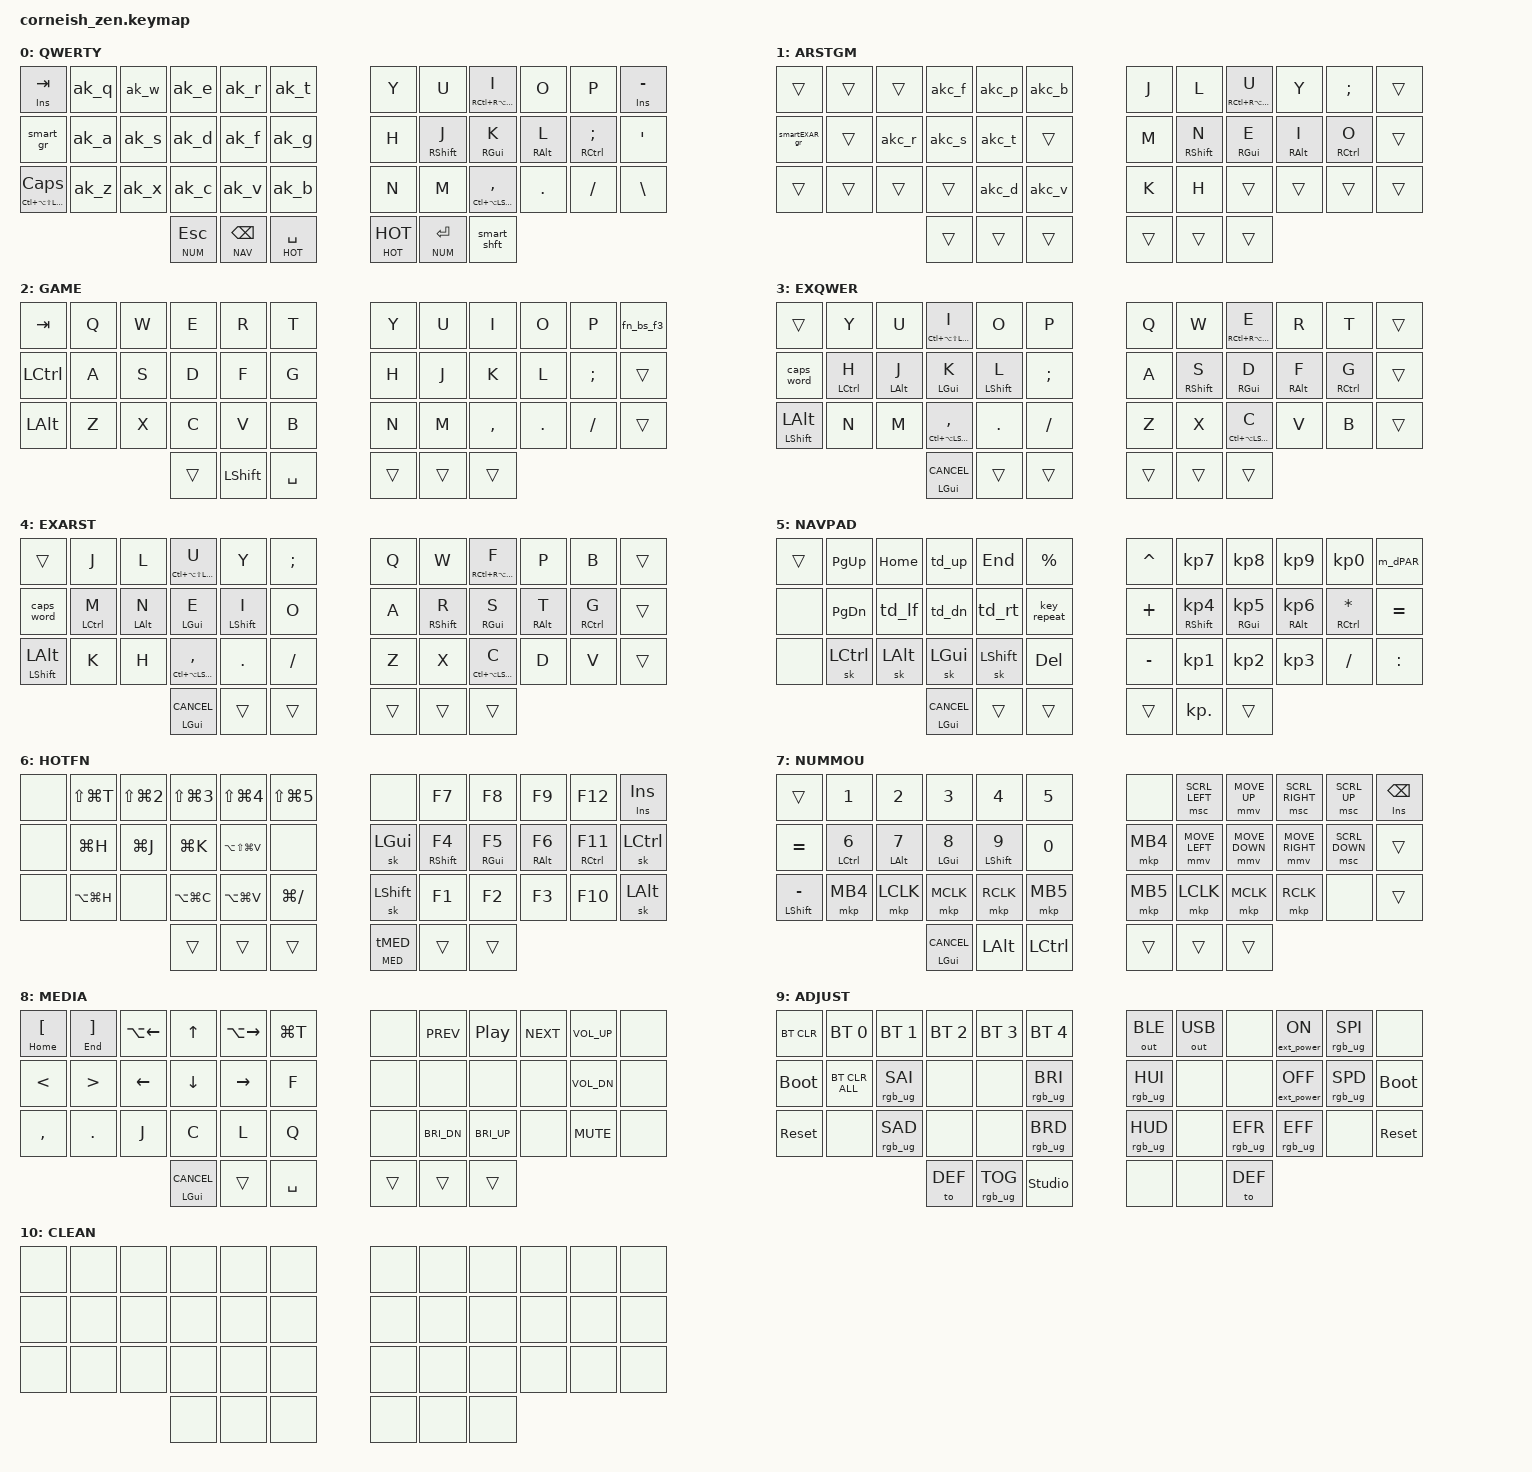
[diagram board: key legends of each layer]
// urob Settings tuned for 3840 x 2160 display resolution
#define ZMK_POINTING_DEFAULT_MOVE_VAL 600  // default 600, eyelash 1200, urob 600
#define ZMK_POINTING_DEFAULT_SCRL_VAL 20    // default 10, eyelash 25, urob 20

#include <dt-bindings/zmk/pointing.h>
#include <input/processors.dtsi>
#include <zephyr/dt-bindings/input/input-event-codes.h>

#include <behaviors.dtsi>
#include <dt-bindings/zmk/bt.h>
#include <dt-bindings/zmk/ext_power.h>
#include <dt-bindings/zmk/keys.h>
#include <dt-bindings/zmk/outputs.h>
#include <dt-bindings/zmk/rgb.h>
#include <behaviors/num_word.dtsi>  // Requires auto-layer module.
#include <dt-bindings/zmk/mouse.h>

/ {
    chosen {
        zmk,matrix_transform = &default_transform;

        // zmk,matrix_transform = &five_column_transform;
    };
};

// ───────────────────────────────────────────────── Define key positon ─────────────────────────────────────────────────
    /*                KEY POSITIONS

    ╭────────────────────────┬────────────────────────╮ ╭─────────────────────────┬─────────────────────────╮
    │  0   1   2   3   4   5 │  6   7   8   9  10  11 │ │ LT5 LT4 LT3 LT2 LT1 LT0 │ RT0 RT1 RT2 RT3 RT4 RT5 │
    │ 12  13  14  15  16  17 │ 18  19  20  21  22  23 │ │ LM5 LM4 LM3 LM2 LM1 LM0 │ RM0 RM1 RM2 RM3 RM4 RM5 │
    │ 24  25  26  27  28  29 │ 30  31  32  33  34  35 │ │ LB5 LB4 LB3 LB2 LB1 LB0 │ RB0 RB1 RB2 RB3 RB4 RB5 │
    ╰───────────╮ 36  37  38 │ 39  40  41 ╭───────────╯ ╰───────────╮ LH2 LH1 LH0 │ RH0 RH1 RH2 ╭───────────╯
                ╰────────────┴────────────╯                         ╰─────────────┴─────────────╯             */

    #define LT0  5  // left-top row
    #define LT1  4
    #define LT2  3
    #define LT3  2
    #define LT4  1
    #define LT5  0

    #define RT0  6  // right-top row
    #define RT1  7
    #define RT2  8
    #define RT3  9
    #define RT4 10
    #define RT5 11

    #define LM0 17  // left-middle row
    #define LM1 16
    #define LM2 15
    #define LM3 14
    #define LM4 13
    #define LM5 12

    #define RM0 18  // right-middle row
    #define RM1 19
    #define RM2 20
    #define RM3 21
    #define RM4 22
    #define RM5 23

    #define LB0 29  // left-bottom row
    #define LB1 28
    #define LB2 27
    #define LB3 26
    #define LB4 25
    #define LB5 24

    #define RB0 30  // right-bottom row
    #define RB1 31
    #define RB2 32
    #define RB3 33
    #define RB4 34
    #define RB5 35

    #define LH0 38  // left thumb keys
    #define LH1 37
    #define LH2 36

    #define RH0 39  // right thumb keys
    #define RH1 40
    #define RH2 41

    #define KEYS_L LT0 LT1 LT2 LT3 LT4 LM0 LM1 LM2 LM3 LM4 LB0 LB1 LB2 LB3 LB4  // left hand
    #define KEYS_R RT0 RT1 RT2 RT3 RT4 RM0 RM1 RM2 RM3 RM4 RB0 RB1 RB2 RB3 RB4  // right hand
    #define SIDE_L LT5 LM5 LB5                                                  // left side
    #define SIDE_R RT5 RM5 RB5                                                  // right side
    #define THUMBS LH2 LH1 LH0 RH0 RH1 RH2                                      // thumbs

// ───────────────────────────────────────────────── Global settings ─────────────────────────────────────────────────
    // Define layer numbers
    #define DEF 0
    #define COL 1
    #define GAM 2
    #define EXQW 3
    #define EXAR 4
    #define NAV 5
    #define HOT 6
    #define NUM 7
    #define MED 8
    #define ADJ 9
    #define CLE 10

    // Define timing
    #define QUICK_TAP_MS 175

    #define COMBO_TERM_FAST 18
    #define COMBO_TERM_SLOW 30

    #define COMBO_IDLE_FAST 150
    #define COMBO_IDLE_SLOW 50

    // Mouse Tweaking
    &mmv {
        acceleration-exponent = <1>;    // default 1
        time-to-max-speed-ms = <500>;   // default 300
        delay-ms = <0>;                 // default 0
        // trigger-period-ms = <16>;    // defualt 16
    };

    &msc {
        acceleration-exponent = <0>;    // default 0, eyelash 1, urob 0
        time-to-max-speed-ms = <300>;   // default 300, eyelash 100, urob 300
        delay-ms = <0>;                 // default 0
    };

    &mmv_input_listener { input-processors = <&zip_xy_scaler 2 1>; };

    &msc_input_listener { input-processors = <&zip_scroll_scaler 2 1>; };

    &sl {  // sticky-layer config
        ignore-modifiers;                   // allow chording sticky mods & layers
    };

// ───────────────────────────────────────────────── Keymap settings ─────────────────────────────────────────────────
    // #define BASE_LM5 &EXQW_nword_gr       //setting 1: hold to EXQWERT, tap to auto-NUMBER, CMD/SHFT to grave
    // #define BASE_LM5 &NUM_nword_gr       //setting 2: hold to NUMBERMOUSE, tap to auto-NUMBER, CMD/SHFT to grave
    // #define BASE_LM5 &hyp_EXQW_gr         //setting 3: hold to hyper, tap to Sticky-EXQWERT, CMD/SHFT to grave
    // #define BASE_LM5 &HOT_EXQW_gr         //setting 4: hold to HOTKEYFN, tap to Sticky-EXQWERT, CMD/SHFT to grave
    // #define BASE_LM5 &smart_NUM_gr       //setting 5: hold to NUMBERMOUSE, tap to Sticky-NUMBERMOUSE, Double-tap to auto-NUMBER, CMD/SHFT to grave

    // #define BASE_LB5 &mt LSHFT CAPS      //setting 1: hold to L_SHFT, tap to CAPS 
    // #define BASE_LB5 &kpsls LSHFT EXQW    //setting 2: hold to L_SHFT, tap to sticky-EXQWERT
    // #define GAM_LB5 &kpsls LALT EXQW      //setting 1: hold to L_ALT, tap to sticky-EXQWERT
    // #define GAM_LB5 &kpsls LALT EXQW      //setting 2: hold to L_ALT, tap to sticky-EXQWERT
    // #define EXQW_LB5 &kpsk LSHFT LALT     //setting 1: hold to L_SHFT, tap to sticky-L_ALT
    // #define EXQW_LB5 &mt LSHFT CAPS       //setting 2: hold to L_SHFT, tap to Caps

    // settings 2
    // #define EXQW_LB5 &mt LSHFT CAPS       //hold to L_SHFT, tap to CAPS

    // #define HYP_SL_GR(LAYER) \
    // / { \
    //     behaviors { \
    //         hyp_##LAYER##_gr: hyper_##LAYER##_grave { \
    //             compatible = "zmk,behavior-mod-morph"; \
    //             #binding-cells = <0>; \
    //             bindings = <&kpsls LC(LA(LS(LGUI))) LAYER>, <&kp GRAVE>; \
    //             mods = <(MOD_LGUI|MOD_LSFT|MOD_RGUI|MOD_RSFT)>; \
    //             keep-mods = <(MOD_LGUI|MOD_LSFT|MOD_RGUI|MOD_RSFT)>; \
    //         }; \
    //     }; \
    // }

    // #define NWORDGR_L(LAYER) \
    // / { \
    //     behaviors { \
    //         nw_gr_##LAYER: num_word_grave_##LAYER { \
    //             compatible = "zmk,behavior-mod-morph"; \
    //             #binding-cells = <0>; \
    //             bindings = <&mo_aNUM LAYER NUM>, <&kp GRAVE>; \
    //             mods = <(MOD_LGUI|MOD_LSFT|MOD_RGUI|MOD_RSFT)>; \
    //             keep-mods = <(MOD_LGUI|MOD_LSFT|MOD_RGUI|MOD_RSFT)>; \
    //         }; \
    //     }; \
    // }

// ───────────────────────────────────────────────── END settings ─────────────────────────────────────────────────

/ {
    behaviors {
// ───────────────────────────────────────────────── Smart, Auto-Layer; Tri-State ─────────────────────────────────────────────────
    // smart layer, smart word
        smart_shft: smart_shift {
            compatible = "zmk,behavior-mod-morph";
            #binding-cells = <0>;
            bindings = <&sk LSHFT>, <&caps_word>;
            mods = <(MOD_LSFT)>;
        };

        math_word: auto_layer_mathword {
            compatible = "zmk,behavior-auto-layer";
            #binding-cells = <1>;
            continue-list = <UP DOWN LEFT RIGHT PLUS MINUS STAR FSLH SPACE BSPC DEL DOT KP_DOT COMMA EQUAL CARET PRCNT TAB>;
            // ignore-alphas;
            ignore-numbers;
            ignore-modifiers;
        };

        tMED: tri_state_MEDIA {
            compatible = "zmk,behavior-tri-state";
            #binding-cells = <0>;
            bindings = <&tog MED>, <&none>, <&tog MED>;
            ignored-key-positions = <SIDE_L KEYS_L KEYS_R LH0 LH1>;
            ignored-layers = <MED>;
        };

        // hold to momentary layer, tap to tri-state MEDIA
        mo_tMED: mo_triMEDIA {
            compatible = "zmk,behavior-hold-tap";
            #binding-cells = <2>;
            bindings = <&mo>, <&tMED>;
            flavor = "balanced";
            tapping-term-ms = <220>;
            // quick-tap-ms = <200>;
        };

        // hold to FN, tap to backspace, shift to F3
        fn_bs_f3: fn_backspace_f3 {
            compatible = "zmk,behavior-mod-morph";
            #binding-cells = <0>;
            bindings = <&mt INS BSPC>, <&kp F3>;
            mods = <(MOD_LSFT|MOD_RSFT)>;
            // keep-mods = <(MOD_LSFT|MOD_RSFT)>;
        };

        swap_tab: cmd_tab_swapper {
            compatible = "zmk,behavior-tri-state";
            #binding-cells = <0>;
            bindings = <&kt LGUI>, <&kp TAB>, <&kt LGUI>;
            ignored-key-positions = <LT1 LT2 LT3 LT5 LM5 LH1 LM0>;
            ignored-layers = <DEF COL NAV>;
        };

        // swap_gr: cmd_grave_swapper {
        //     compatible = "zmk,behavior-tri-state";
        //     #binding-cells = <0>;
        //     bindings = <&kt LGUI>, <&kp GRAVE>, <&kt LGUI>;
        //     ignored-key-positions = <LT5 LM5 LT2 LT3 LM2 LM3>;
        // };

    // smart EXQWER layer and morph grave
        aEXQW: auto_layer_EXQWERT {
            compatible = "zmk,behavior-auto-layer";
            #binding-cells = <1>;
            continue-list = <INS TAB SPACE BSPC DOT COMMA FSLH SEMI>;
            ignore-alphas;
            // ignore-numbers;
            ignore-modifiers;
        };

        // SMART-GRAVE setting 1: hold to EXQWER, tap to sticky-EXQWER, double-tap to auto-EXQWER, command/shift morph into grave
        smart_gr: smart_EXQWERT_grave {
            compatible = "zmk,behavior-mod-morph";
            #binding-cells = <0>;
            bindings = <&td_EXQW>, <&kp GRAVE>;
            mods = <(MOD_LGUI|MOD_LSFT|MOD_RGUI|MOD_RSFT)>;
            keep-mods = <(MOD_LGUI|MOD_LSFT|MOD_RGUI|MOD_RSFT)>;
        };

        // // SMART-GRAVE setting 2: hold to EXQWER, tap to auto-EXQWER, command/shift morph into grave
        // mo_aEXQW: mo_autoEXQWER {
        //     compatible = "zmk,behavior-hold-tap";
        //     #binding-cells = <2>;
        //     bindings = <&mo>, <&aEXQW>;
        //     flavor = "balanced";
        //     tapping-term-ms = <220>;
        //     // quick-tap-ms = <200>;
        // };

        // kp_aEXQW: kp_autoEXQWER {
        //     compatible = "zmk,behavior-hold-tap";
        //     #binding-cells = <2>;
        //     bindings = <&kp>, <&aEXQW>;
        //     flavor = "balanced";
        //     tapping-term-ms = <220>;
        //     // quick-tap-ms = <200>;
        // };

        // smart_gr: smart_layer_grave {
        //     compatible = "zmk,behavior-mod-morph";
        //     #binding-cells = <0>;
        //     bindings = <&mo_aEXQW EXQW EXQW>, <&kp GRAVE>;
        //     mods = <(MOD_LGUI|MOD_LSFT|MOD_RGUI|MOD_RSFT)>;
        //     keep-mods = <(MOD_LGUI|MOD_LSFT|MOD_RGUI|MOD_RSFT)>;
        // };

        // // SMART-GRAVE setting 3: hold to HOTKEYFN, tap to sticky-EXQWER, command/shift morph into grave
        // smart_gr: HOT_slEXQW_grave {
        //     compatible = "zmk,behavior-mod-morph";
        //     #binding-cells = <0>;
        //     bindings = <&mosls HOT EXQW>, <&kp GRAVE>;
        //     mods = <(MOD_LGUI|MOD_LSFT|MOD_RGUI|MOD_RSFT)>;
        //     keep-mods = <(MOD_LGUI|MOD_LSFT|MOD_RGUI|MOD_RSFT)>;
        // };

        // // SMART-GRAVE setting 4: hold to hyper, tap to sticky-EXQWER, command/shift morph into grave
        // smart_gr: hyper_slEXQW_grave {
        //     compatible = "zmk,behavior-mod-morph";
        //     #binding-cells = <0>;
        //     bindings = <&kpsls LC(LA(LS(LGUI))) EXQW>, <&kp GRAVE>;
        //     mods = <(MOD_LGUI|MOD_LSFT|MOD_RGUI|MOD_RSFT)>;
        //     keep-mods = <(MOD_LGUI|MOD_LSFT|MOD_RGUI|MOD_RSFT)>;
        // };

    // smart EXARSTG layer and morph grave
        aEXAR: auto_layer_EXARSTG {
            compatible = "zmk,behavior-auto-layer";
            #binding-cells = <1>;
            continue-list = <INS TAB SPACE BSPC DOT COMMA FSLH SEMI>;
            ignore-alphas;
            // ignore-numbers;
            ignore-modifiers;
        };

        // SMART-GRAVE setting 1: hold to EXQWER, tap to sticky-EXQWER, double-tap to auto-EXQWER, command/shift morph into grave
        smartEXAR_gr: smart_EXARSTG_grave {
            compatible = "zmk,behavior-mod-morph";
            #binding-cells = <0>;
            bindings = <&td_EXAR>, <&kp GRAVE>;
            mods = <(MOD_LGUI|MOD_LSFT|MOD_RGUI|MOD_RSFT)>;
            keep-mods = <(MOD_LGUI|MOD_LSFT|MOD_RGUI|MOD_RSFT)>;
        };

    // smart NUMBER layer and morph grave
        aNUM: auto_layer_NUMBER {
            compatible = "zmk,behavior-auto-layer";
            #binding-cells = <1>;
            continue-list = <PLUS MINUS EQUAL TAB INS>;
            // ignore-alphas;
            ignore-numbers;
            ignore-modifiers;
        };

        // // SMART-GRAVE setting 1: hold to NUMBER, tap to sticky-NUMBER, double-tap to auto-NUMBER, command/shift morph into grave
        // smart_gr: smart_layer_grave {
        //     compatible = "zmk,behavior-mod-morph";
        //     #binding-cells = <0>;
        //     bindings = <&td_NUM>, <&kp GRAVE>;
        //     mods = <(MOD_LGUI|MOD_LSFT|MOD_RGUI|MOD_RSFT)>;
        //     keep-mods = <(MOD_LGUI|MOD_LSFT|MOD_RGUI|MOD_RSFT)>;
        // };

        // // // SMART-GRAVE setting 2: hold to NUMBER, tap to auto-NUMBER, command/shift morph into grave
        // // mo_aNUM: mo_autoNUMBER {
        // //     compatible = "zmk,behavior-hold-tap";
        // //     #binding-cells = <2>;
        // //     bindings = <&mo>, <&aNUM>;
        // //     flavor = "balanced";
        // //     tapping-term-ms = <220>;
        // //     // quick-tap-ms = <200>;
        // // };

        // // kp_aNUM: kp_autoNUMBER {
        // //     compatible = "zmk,behavior-hold-tap";
        // //     #binding-cells = <2>;
        // //     bindings = <&kp>, <&aNUM>;
        // //     flavor = "balanced";
        // //     tapping-term-ms = <220>;
        // //     // quick-tap-ms = <200>;
        // // };

        // // smart_gr: smart_layer_grave {
        // //     compatible = "zmk,behavior-mod-morph";
        // //     #binding-cells = <0>;
        // //     bindings = <&mo_aNUM NUM NUM>, <&kp GRAVE>;
        // //     mods = <(MOD_LGUI|MOD_LSFT|MOD_RGUI|MOD_RSFT)>;
        // //     keep-mods = <(MOD_LGUI|MOD_LSFT|MOD_RGUI|MOD_RSFT)>;
        // // };

// ───────────────────────────────────────────────── Sticky ─────────────────────────────────────────────────
        // // new sticky-key config, delay duration, quick-release, ignore-modifiers
        // skq: sticky-key-quickrelease {
        //     compatible = "zmk,behavior-sticky-key";
        //     #binding-cells = <1>;
        //     bindings = <&kp>;
        //     release-after-ms = <1500>;                  // default 1000
        //     quick-release;
        //     ignore-modifiers;                           // allow chording sticky mods & layers
        // };

        // //  hold to momentary layer, tap to sticky-key quickrelease
        // kpskq: keypress_sticky-key-quick {
        //     compatible = "zmk,behavior-hold-tap";
        //     #binding-cells = <2>;
        //     bindings = <&kp>, <&skq>;
        //     flavor = "balanced";
        //     tapping-term-ms = <220>;
        // };

        //  hold to momentary layer, tap to sticky-key
        kpsk: keypress_sticky-key {
            compatible = "zmk,behavior-hold-tap";
            #binding-cells = <2>;
            bindings = <&kp>, <&sk>;
            flavor = "balanced";
            tapping-term-ms = <220>;
        };

        // new sticky-layer config, delay duration, no quick-release, ignore-modifiers
        sls: sticky-layer-slow {
            compatible = "zmk,behavior-sticky-key";
            #binding-cells = <1>;
            bindings = <&mo>;
            release-after-ms = <1500>;              // default 1000
            /delete-property/ quick-release;        //no quic-release
            ignore-modifiers;                       // allow chording sticky mods & layers
        };

        //  hold to key press, tap to sticky layer, no quick-release
        kpsls: keypress_sticky-layer-slow {
            compatible = "zmk,behavior-hold-tap";
            #binding-cells = <2>;
            bindings = <&kp>, <&sls>;
            flavor = "balanced";
            tapping-term-ms = <220>;
        };

        //  hold to key press, tap to sticky layer
        kpsl: keypress_stickylayer {
            compatible = "zmk,behavior-hold-tap";
            #binding-cells = <2>;
            bindings = <&kp>, <&sl>;
            flavor = "balanced";
            tapping-term-ms = <220>;
        };

        //  hold to momentary layer, tap to sticky-layer slow
        mosls: layer_stickylayer_slow {
            compatible = "zmk,behavior-hold-tap";
            #binding-cells = <2>;
            bindings = <&mo>, <&sls>;
            flavor = "balanced";
            tapping-term-ms = <220>;
        };
// ───────────────────────────────────────────────── Antecedent-Morph AKA. Adaptive-Keys ─────────────────────────────────────────────────
    // for QWERTY layout
        // ak_e: adaptive-key_E {      // didn't work as expected
        //     compatible = "zmk,behavior-antecedent-morph";
        //     #binding-cells = <0>;
        //     defaults = <&hml LC(LA(LS(LGUI))) E>;
        //     bindings = <&kp LC(LA(LS(LG(E))))>, <&kp LC(LS(LA(E)))>, <&kp LG(E)>;
        //     antecedents = <LC(LA(LS(LGUI))) LC(LS(LALT)) LGUI>;
        //     max-delay-ms = <1000>;
        // };

        ak_q: adaptive-key_Q {
            compatible = "zmk,behavior-adaptive-key";
            #binding-cells = <0>;
            bindings = <&kp Q>;
            lc_q {
                trigger-keys = <LCTRL>;
                bindings = <&kp LC(Q)>;
                max-prior-idle-ms = <1000>;
                };
        };

        ak_a: adaptive-key_A {
            compatible = "zmk,behavior-adaptive-key";
            #binding-cells = <0>;
            bindings = <&hml LCTRL A>;
            lc_a {
                trigger-keys = <LCTRL>;
                bindings = <&kp LC(A)>;
                max-prior-idle-ms = <1000>;
                // strict-modifiers;
                };
        };

        ak_z: adaptive-key_Z {
            compatible = "zmk,behavior-adaptive-key";
            #binding-cells = <0>;
            bindings = <&kp Z>;
            lc_z {
                trigger-keys = <LCTRL>;
                bindings = <&kp LC(Z)>;
                max-prior-idle-ms = <1000>;
                };
        };

        ak_w: adaptive-key_W {
            compatible = "zmk,behavior-adaptive-key";
            #binding-cells = <0>;
            bindings = <&hml LC(LS(LALT)) W>;
            la_w {
                trigger-keys = <LALT>;
                bindings = <&kp LA(W)>;
                max-prior-idle-ms = <1000>;
                };
        };

        ak_s: adaptive-key_S {
            compatible = "zmk,behavior-adaptive-key";
            #binding-cells = <0>;
            bindings = <&hml LALT S>;
            la_s {
                trigger-keys = <LALT>;
                bindings = <&kp LA(S)>;
                max-prior-idle-ms = <1000>;
                };
        };

        ak_x: adaptive-key_X {
            compatible = "zmk,behavior-adaptive-key";
            #binding-cells = <0>;
            bindings = <&hml LC(LS(LALT)) X>;
            la_x {
                trigger-keys = <LALT>;
                bindings = <&kp LA(X)>;
                max-prior-idle-ms = <1000>;
                };
        };

        ak_e: adaptive-key_E {
            compatible = "zmk,behavior-adaptive-key";
            #binding-cells = <0>;
            bindings = <&hml LC(LA(LS(LGUI))) E>;
            lg_e {
                trigger-keys = <LGUI>;
                bindings = <&kp LG(E)>;
                max-prior-idle-ms = <1000>;
                // strict-modifiers;
                };
        };

        ak_d: adaptive-key_D {
            compatible = "zmk,behavior-adaptive-key";
            #binding-cells = <0>;
            bindings = <&hml LGUI D>;
            lg_d {
                trigger-keys = <LGUI>;
                bindings = <&kp LG(D)>;
                max-prior-idle-ms = <1000>;
                };
        };

        ak_c: adaptive-key_C {
            compatible = "zmk,behavior-adaptive-key";
            #binding-cells = <0>;
            bindings = <&hml LC(LS(LALT)) C>;
            lg_c {
                trigger-keys = <LGUI>;
                bindings = <&kp LG(C)>;
                max-prior-idle-ms = <1000>;
                };
        };

        ak_r: adaptive-key_R {
            compatible = "zmk,behavior-adaptive-key";
            #binding-cells = <0>;
            bindings = <&hmlq LC(LA(LS(LGUI))) R>;
            ls_r {
                trigger-keys = <LSHFT>;
                bindings = <&kp LS(R)>;
                max-prior-idle-ms = <1000>;
                };
        };

        ak_f: adaptive-key_F {
            compatible = "zmk,behavior-adaptive-key";
            #binding-cells = <0>;
            bindings = <&hmlq LSHFT F>;
            repeat {
                trigger-keys = <LSHFT>;
                bindings = <&kp LS(F)>;
                max-prior-idle-ms = <1000>;
                };
        };

        ak_v: adaptive-key_V {
            compatible = "zmk,behavior-adaptive-key";
            #binding-cells = <0>;
            bindings = <&hmlq LC(LA(LS(LGUI))) V>;
            la_x {
                trigger-keys = <LSHFT>;
                bindings = <&kp LS(V)>;
                max-prior-idle-ms = <1000>;
                };
        };

        ak_t: adaptive-key_T {
            compatible = "zmk,behavior-adaptive-key";
            #binding-cells = <0>;
            bindings = <&kp T>;
            la_x {
                trigger-keys = <LSHFT>;
                bindings = <&kp LS(T)>;
                max-prior-idle-ms = <1000>;
                };
        };

        ak_g: adaptive-key_G {
            compatible = "zmk,behavior-adaptive-key";
            #binding-cells = <0>;
            bindings = <&kp G>;
            ls_g {
                trigger-keys = <LSHFT>;
                bindings = <&kp LS(G)>;
                max-prior-idle-ms = <1000>;
                };
        };

        ak_b: adaptive-key_B {
            compatible = "zmk,behavior-adaptive-key";
            #binding-cells = <0>;
            bindings = <&kp B>;
            ls_b {
                trigger-keys = <LSHFT>;
                bindings = <&kp LS(B)>;
                max-prior-idle-ms = <1000>;
                };
        };

    // for ColemakDH layout
        akc_r: adaptive-key_colemak_R {
            compatible = "zmk,behavior-adaptive-key";
            #binding-cells = <0>;
            bindings = <&hml LALT R>;
            ls_r {
                trigger-keys = <LALT>;
                bindings = <&kp LA(R)>;
                max-prior-idle-ms = <1000>;
                };
        };

        akc_f: adaptive-key_colemak_F {
            compatible = "zmk,behavior-adaptive-key";
            #binding-cells = <0>;
            bindings = <&hml LC(LA(LS(LGUI))) F>;
            lg_f {
                trigger-keys = <LGUI>;
                bindings = <&kp LG(F)>;
                max-prior-idle-ms = <1000>;
                };
        };

        akc_s: adaptive-key_colemak_S {
            compatible = "zmk,behavior-adaptive-key";
            #binding-cells = <0>;
            bindings = <&hml LGUI S>;
            lg_s {
                trigger-keys = <LGUI>;
                bindings = <&kp LG(S)>;
                max-prior-idle-ms = <1000>;
                };
        };

        akc_p: adaptive-key_colemak_P {
            compatible = "zmk,behavior-adaptive-key";
            #binding-cells = <0>;
            bindings = <&kp P>;
            ls_p {
                trigger-keys = <LSHFT>;
                bindings = <&kp LS(P)>;
                max-prior-idle-ms = <1000>;
                };
        };

        akc_t: adaptive-key_colemak_T {
            compatible = "zmk,behavior-adaptive-key";
            #binding-cells = <0>;
            bindings = <&hmlq LSHFT T>;
            ls_t {
                trigger-keys = <LSHFT>;
                bindings = <&kp LS(T)>;
                max-prior-idle-ms = <1000>;
                };
        };

        akc_d: adaptive-key_colemak_D {
            compatible = "zmk,behavior-adaptive-key";
            #binding-cells = <0>;
            bindings = <&kp D>;
            ls_d {
                trigger-keys = <LSHFT>;
                bindings = <&kp LS(D)>;
                max-prior-idle-ms = <1000>;
                };
        };

        akc_b: adaptive-key_colemak_B {
            compatible = "zmk,behavior-adaptive-key";
            #binding-cells = <0>;
            bindings = <&kp B>;
            ls_b {
                trigger-keys = <LSHFT>;
                bindings = <&kp LS(B)>;
                max-prior-idle-ms = <1000>;
                };
        };

        akc_v: adaptive-key_colemak_V {
            compatible = "zmk,behavior-adaptive-key";
            #binding-cells = <0>;
            bindings = <&kp V>;
            ls_v {
                trigger-keys = <LSHFT>;
                bindings = <&kp LS(V)>;
                max-prior-idle-ms = <1000>;
                };
        };

    // // for mouse button, conflict with macro
    //     ak_lclk: adaptive-key_lclick {
    //         compatible = "zmk,behavior-adaptive-key";
    //         #binding-cells = <0>;
    //         bindings = <&mkp LCLK>;
    //         la_lclk {
    //             trigger-keys = <LALT>;
    //             bindings = <&alclk>;
    //             max-prior-idle-ms = <1000>;
    //             };
    //     };
// ───────────────────────────────────────────────── Hold-tap ─────────────────────────────────────────────────
        //  layer-tap config, change flavor to balanced
        ltb: layertap_balance {
            compatible = "zmk,behavior-hold-tap";
            #binding-cells = <2>;
            bindings = <&mo>, <&kp>;
            flavor = "balanced";
            tapping-term-ms = <200>;
        };

        //  layer-tap config, hold to layer, double-tap and holding to repeat key
        ltq: layertap_quick {
            compatible = "zmk,behavior-hold-tap";
            #binding-cells = <2>;
            bindings = <&mo>, <&kp>;
            flavor = "balanced";
            tapping-term-ms = <220>;
            quick-tap-ms = <220>;
        };
// ───────────────────────────────────────────────── Timeless Homerow-Mods ─────────────────────────────────────────────────
        hml: homerow_mod_left {
            compatible = "zmk,behavior-hold-tap";
            #binding-cells = <2>;
            bindings = <&kp>, <&kp>;
            flavor = "balanced";
            tapping-term-ms = <280>;
            quick-tap-ms = <QUICK_TAP_MS>;          // repeat on tap-into-hold
            require-prior-idle-ms = <150>;
            hold-trigger-key-positions = <SIDE_R KEYS_R THUMBS LT5 LM5>;
            hold-trigger-on-release;                // delay positional check until key-release
        };

        hmr: homerow_mod_right {
            compatible = "zmk,behavior-hold-tap";
            #binding-cells = <2>;
            bindings = <&kp>, <&kp>;
            flavor = "balanced";
            tapping-term-ms = <280>;
            quick-tap-ms = <QUICK_TAP_MS>;
            require-prior-idle-ms = <150>;
            hold-trigger-key-positions = <SIDE_L KEYS_L THUMBS>;
            hold-trigger-on-release;
        };

        hmlq: homerow_mode_left_quick {
            compatible = "zmk,behavior-hold-tap";
            #binding-cells = <2>;
            bindings = <&kp>, <&kp>;
            flavor = "balanced";
            tapping-term-ms = <200>;
            quick-tap-ms = <QUICK_TAP_MS>;
            require-prior-idle-ms = <150>;
            hold-trigger-key-positions = <SIDE_R KEYS_R THUMBS>;
            // hold-trigger-on-release;
        };

        hmrq: homerow_mode_right_quick {
            compatible = "zmk,behavior-hold-tap";
            #binding-cells = <2>;
            bindings = <&kp>, <&kp>;
            flavor = "balanced";
            tapping-term-ms = <200>;
            quick-tap-ms = <QUICK_TAP_MS>;
            require-prior-idle-ms = <150>;
            hold-trigger-key-positions = <SIDE_L KEYS_L THUMBS>;
            // hold-trigger-on-release;
        };

    // Homerow-Mods for Combos
        // hml_tMED: hml_tri_MEDIA {
        //     compatible = "zmk,behavior-hold-tap";
        //     #binding-cells = <2>;
        //     bindings = <&kp>, <&tMED>;
        //     flavor = "balanced";
        //     tapping-term-ms = <280>;
        //     quick-tap-ms = <QUICK_TAP_MS>;
        //     require-prior-idle-ms = <150>;
        //     hold-trigger-key-positions = <SIDE_R KEYS_R THUMBS>;
        //     hold-trigger-on-release;
        // };

        hml_aEXQW: hml_autoEXQWER {
            compatible = "zmk,behavior-hold-tap";
            #binding-cells = <2>;
            bindings = <&kp>, <&aEXQW>;
            flavor = "balanced";
            tapping-term-ms = <280>;
            quick-tap-ms = <QUICK_TAP_MS>;
            require-prior-idle-ms = <150>;
            hold-trigger-key-positions = <SIDE_R KEYS_R THUMBS>;
            hold-trigger-on-release;
        };

        hml_aEXAR: hml_autoEXARST {
            compatible = "zmk,behavior-hold-tap";
            #binding-cells = <2>;
            bindings = <&kp>, <&aEXAR>;
            flavor = "balanced";
            tapping-term-ms = <280>;
            quick-tap-ms = <QUICK_TAP_MS>;
            require-prior-idle-ms = <150>;
            hold-trigger-key-positions = <SIDE_R KEYS_R THUMBS>;
            hold-trigger-on-release;
        };
// ───────────────────────────────────────────────── Tap Dance ─────────────────────────────────────────────────;
    // arrows, arrows with modifier
        td_up: tapdance_up {
            compatible = "zmk,behavior-tap-dance";
            #binding-cells = <0>;
            bindings = <&kp UP>, <&mt LG(UP) LA(UP)>;
            tapping-term-ms = <250>;
        };

        td_lf: tapdance_left {
            compatible = "zmk,behavior-tap-dance";
            #binding-cells = <0>;
            bindings = <&kp LEFT>, <&mt LG(LEFT) LA(LEFT)>;
            tapping-term-ms = <250>;
        };

        td_dn: tapdance_down {
            compatible = "zmk,behavior-tap-dance";
            #binding-cells = <0>;
            bindings = <&kp DOWN>, <&mt LG(DOWN) LA(DOWN)>;
            tapping-term-ms = <250>;
        };

        td_rt: tapdance_right {
            compatible = "zmk,behavior-tap-dance";
            #binding-cells = <0>;
            bindings = <&kp RIGHT>, <&mt LG(RIGHT) LA(RIGHT)>;
            tapping-term-ms = <250>;
        };

    // symbols
        td_PAR: tapdance_PAR {
            compatible = "zmk,behavior-tap-dance";
            #binding-cells = <0>;
            bindings = <&mt RPAR LPAR>, <&m_dPAR>;
        };

        td_BKT: tapdance_BKT {
            compatible = "zmk,behavior-tap-dance";
            #binding-cells = <0>;
            bindings = <&mt RBKT LBKT>, <&m_dBKT>;
        };

        td_BRC: tapdance_BRC {
            compatible = "zmk,behavior-tap-dance";
            #binding-cells = <0>;
            bindings = <&mt RBRC LBRC>, <&m_dBRC>;
        };

        td_LTGT: tapdance_LTGT {
            compatible = "zmk,behavior-tap-dance";
            #binding-cells = <0>;
            bindings = <&mt GT LT>, <&m_LTGT>;
        };

    // layer switch
        td_EXQW: tapdance_EXQWER {
            compatible = "zmk,behavior-tap-dance";
            #binding-cells = <0>;
            bindings = <&mosls EXQW EXQW>, <&aEXQW EXQW>;
        };

        td_EXAR: tapdance_EXARST {
            compatible = "zmk,behavior-tap-dance";
            #binding-cells = <0>;
            bindings = <&mosls EXAR EXAR>, <&aEXAR EXAR>;
        };

        // td_NUM: tapdance_NUMBER {
        //     compatible = "zmk,behavior-tap-dance";
        //     #binding-cells = <0>;
        //     bindings = <&mosls NUM NUM>, <&aNUM NUM>;
        // };

        // td_GAMLH1: tapdance_gameLH1 {
        //     compatible = "zmk,behavior-tap-dance";
        //     #binding-cells = <0>;
        //     bindings = <&kp LSHFT>, <&mo NAV>;
        // };

        // td_GAMLH2: tapdance_gameLH2 {
        //     compatible = "zmk,behavior-tap-dance";
        //     #binding-cells = <0>;
        //     bindings = <&lt NUM ESC>, <&kp LGUI>;
        // };
// ───────────────────────────────────────────────── END behaviors ─────────────────────────────────────────────────
    };

    combos {
        compatible = "zmk,combos";
// ───────────────────────────────────────────────── HRMs ─────────────────────────────────────────────────
        cb_hml_AS {
            bindings = <&hml LC(LALT) MINUS>;
            key-positions = <LM3 LM4>;
            timeout-ms = <COMBO_TERM_FAST>;
            require-prior-idle-ms = <COMBO_IDLE_FAST>;
            layers = <DEF COL>;                         //disable in Gaming & Clean layer
        };

        cb_hml_SD {
            bindings = <&hml LA(LGUI) EQUAL>;
            key-positions = <LM2 LM3>;
            timeout-ms = <COMBO_TERM_FAST>;
            require-prior-idle-ms = <COMBO_IDLE_FAST>;
            layers = <DEF COL>;                         //disable in Gaming & Clean layer
        };

        cb_hml_DF {
            bindings = <&hml LG(LSHFT) RET>;
            key-positions = <LM1 LM2>;
            timeout-ms = <COMBO_TERM_FAST>;
            require-prior-idle-ms = <COMBO_IDLE_FAST>;
            layers = <DEF COL>;                         //disable in Gaming & Clean layer
        };

        cb_hml_SF {
            bindings = <&hml_aEXQW LA(LSHFT) EXQW>;
            key-positions = <LM1 LM3>;
            layers = <DEF EXQW>;                        //disable in Colmak, Gaming & Clean layer
        };

        cb_hml_cSF {
            bindings = <&hml_aEXAR LA(LSHFT) EXAR>;
            key-positions = <LM1 LM3>;
            layers = <COL EXAR>;                        //disable in Default, Gaming & Clean layer
        };

        cb_hmr_JK {
            bindings = <&hmr RS(RGUI) LBKT>;
            key-positions = <RM1 RM2>;
            timeout-ms = <COMBO_TERM_FAST>;
            require-prior-idle-ms = <COMBO_IDLE_FAST>;
            layers = <DEF COL GAM>;                     //disable in Clean layer
        };

        cb_hmr_KL {
            bindings = <&hmr RA(RGUI) RBKT>;
            key-positions = <RM2 RM3>;
            timeout-ms = <COMBO_TERM_FAST>;
            require-prior-idle-ms = <COMBO_IDLE_FAST>;
            layers = <DEF COL GAM>;                     //disable in Clean layer
        };

        cb_hmr_LSemi {
            bindings = <&hmr RA(RCTRL) EQUAL>;
            key-positions = <RM3 RM4>;
            timeout-ms = <COMBO_TERM_FAST>;
            require-prior-idle-ms = <COMBO_IDLE_FAST>;
            layers = <DEF COL GAM>;                     //disable in Clean layer
        };
// ───────────────────────────────────────────────── left hand: vertical ─────────────────────────────────────────────────
        cb_QA {
            bindings = <&mt QMARK EXCL>;
            key-positions = <LT4 LM4>;
            timeout-ms = <COMBO_TERM_SLOW>;
            require-prior-idle-ms = <COMBO_IDLE_SLOW>;
            layers = <DEF COL GAM>;                         //disable in Clean layer
        };

        cb_WS {
            bindings = <&mt AMPS AT>;
            key-positions = <LT3 LM3>;
            timeout-ms = <COMBO_TERM_SLOW>;
            require-prior-idle-ms = <COMBO_IDLE_SLOW>;
            layers = <DEF COL GAM>;                         //disable in Clean layer
        };

        cb_ED {
            bindings = <&mt STAR HASH>;
            key-positions = <LT2 LM2>;
            timeout-ms = <COMBO_TERM_SLOW>;
            require-prior-idle-ms = <COMBO_IDLE_SLOW>;
            layers = <DEF COL GAM>;                         //disable in Clean layer
        };

        cb_RF {
            bindings = <&mt LA(Y) DLLR>;
            key-positions = <LT1 LM1>;
            timeout-ms = <COMBO_TERM_SLOW>;
            require-prior-idle-ms = <COMBO_IDLE_SLOW>;
            layers = <DEF COL GAM>;                         //disable in Clean layer
        };

        cb_TG {
            bindings = <&mt CARET PRCNT>;
            key-positions = <LT0 LM0>;
            timeout-ms = <COMBO_TERM_SLOW>;
            require-prior-idle-ms = <COMBO_IDLE_SLOW>;
            layers = <DEF COL GAM>;                         //disable in Clean layer
        };

        // cb_SX {
        //     bindings = <&mt SEMICOLON COMMA>;
        //     key-positions = <LM3 LB3>;
        //     timeout-ms = <COMBO_TERM_SLOW>;
        //     require-prior-idle-ms = <COMBO_IDLE_SLOW>;
        //     layers = <DEF COL>;
        // };

        cb_DC {
            bindings = <&mt SEMICOLON COMMA>;
            key-positions = <LM2 LB2>;
            timeout-ms = <COMBO_TERM_SLOW>;
            require-prior-idle-ms = <COMBO_IDLE_SLOW>;
            layers = <DEF COL>;                         //disable in Gaming & Clean layer
        };

        cb_FV {
            bindings = <&mt COLON DOT>;
            key-positions = <LM1 LB1>;
            timeout-ms = <COMBO_TERM_SLOW>;
            require-prior-idle-ms = <COMBO_IDLE_SLOW>;
            layers = <DEF COL>;                         //disable in Gaming & Clean layer
        };

        cb_GB {
            bindings = <&mt DQT SQT>;
            key-positions = <LM0 LB0>;
            timeout-ms = <COMBO_TERM_SLOW>;
            require-prior-idle-ms = <COMBO_IDLE_SLOW>;
            layers = <DEF COL>;                         //disable in Gaming & Clean layer
        };
// ───────────────────────────────────────────────── left hand: horizontal ─────────────────────────────────────────────────
        // cb_QW {
        //     bindings = <&mt LG(RBKT) LG(LBKT)>;
        //     key-positions = <LT3 LT4>;
        //     timeout-ms = <COMBO_TERM_FAST>;
        //     require-prior-idle-ms = <COMBO_IDLE_FAST>;
        // };

        cb_WE {
            bindings = <&kp GRAVE>;
            key-positions = <LT2 LT3>;
            // timeout-ms = <COMBO_TERM_FAST>;
            // require-prior-idle-ms = <COMBO_IDLE_FAST>;
            layers = <DEF COL GAM>;                         //disable in Clean layer
        };

        cb_ER {
            bindings = <&swap_tab>;
            key-positions = <LT1 LT2>;
            // timeout-ms = <COMBO_TERM_FAST>;
            // require-prior-idle-ms = <COMBO_IDLE_FAST>;
            layers = <DEF COL NAV>;                         //disable in Gaming & Clean layer
        };

        cb_ZX {
            bindings = <&kp CAPS>;
            key-positions = <LB3 LB4>;
            layers = <DEF COL GAM>;                         //disable in Clean layer
        };

        cb_XC {
            bindings = <&kp LG(C)>;
            key-positions = <LB2 LB3>;
            layers = <DEF COL>;                             //disable in Gaming & Clean layer
        };

        cb_CV {
            bindings = <&kp UNDER>;
            key-positions = <LB1 LB2>;
            layers = <DEF COL>;                             //disable in Gaming & Clean layer
        };

        cb_XV {
            bindings = <&kp LG(V)>;
            key-positions = <LB1 LB3>;
            layers = <DEF COL>;                             //disable in Gaming & Clean layer
        };

// ───────────────────────────────────────────────── left hand: diagonal ─────────────────────────────────────────────────
        cb_ES {
            bindings = <&kp LG(LBKT)>;
            key-positions = <LT2 LM3>;
            timeout-ms = <COMBO_TERM_SLOW>;
            require-prior-idle-ms = <COMBO_IDLE_SLOW>;
            layers = <DEF COL>;                         //disable in Gaming & Clean layer
        };

        cb_EF {
            bindings = <&kp LG(RBKT)>;
            key-positions = <LT2 LM1>;
            timeout-ms = <COMBO_TERM_SLOW>;
            require-prior-idle-ms = <COMBO_IDLE_SLOW>;
            layers = <DEF COL>;                         //disable in Gaming & Clean layer
        };

        cb_DX {
            bindings = <&kp FSLH>;
            key-positions = <LM2 LB3>;
            timeout-ms = <COMBO_TERM_SLOW>;
            require-prior-idle-ms = <COMBO_IDLE_SLOW>;
            layers = <DEF COL>;                         //disable in Gaming & Clean layer
        };

        cb_DV {
            bindings = <&mt PIPE BSLH>;
            key-positions = <LM2 LB1>;
            timeout-ms = <COMBO_TERM_SLOW>;
            require-prior-idle-ms = <COMBO_IDLE_SLOW>;
            layers = <DEF COL>;                         //disable in Gaming & Clean layer
        };
// ───────────────────────────────────────────────── right hand: horizontal ─────────────────────────────────────────────────
        // cb_NM {
        //     bindings = <&kp UNDER>;
        //     key-positions = <RB0 RB1>;
        //     timeout-ms = <COMBO_TERM_FAST>;
        //     require-prior-idle-ms = <COMBO_IDLE_FAST>;
        // };

        cb_MLt {
            bindings = <&kp UNDER>;
            key-positions = <RB1 RB2>;
            timeout-ms = <COMBO_TERM_FAST>;
            require-prior-idle-ms = <COMBO_IDLE_FAST>;
            layers = <DEF COL>;                         //disable in Gaming & Clean layer
        };

        cb_LtGt {
            bindings = <&kp PIPE>;
            key-positions = <RB2 RB3>;
            timeout-ms = <COMBO_TERM_FAST>;
            require-prior-idle-ms = <COMBO_IDLE_FAST>;
            layers = <DEF COL>;                         //disable in Gaming & Clean layer
        };
// ───────────────────────────────────────────────── right hand: vertical ─────────────────────────────────────────────────
        cb_YH {
            bindings = <&kp CARET>;
            key-positions = <RT0 RM0>;
            timeout-ms = <COMBO_TERM_SLOW>;
            require-prior-idle-ms = <COMBO_IDLE_SLOW>;
            layers = <DEF COL GAM>;                         //disable in Clean layer
        };

        cb_UJ {
            bindings = <&kp PLUS>;
            key-positions = <RT1 RM1>;
            timeout-ms = <COMBO_TERM_SLOW>;
            require-prior-idle-ms = <COMBO_IDLE_SLOW>;
            layers = <DEF COL GAM>;                         //disable in Clean layer
        };

        cb_IK {
            bindings = <&kp STAR>;
            key-positions = <RT2 RM2>;
            timeout-ms = <COMBO_TERM_SLOW>;
            require-prior-idle-ms = <COMBO_IDLE_SLOW>;
            layers = <DEF COL GAM>;                         //disable in Clean layer
        };

        cb_OL {
            bindings = <&kp AMPS>;
            key-positions = <RT3 RM3>;
            timeout-ms = <COMBO_TERM_SLOW>;
            require-prior-idle-ms = <COMBO_IDLE_SLOW>;
            layers = <DEF COL GAM>;                         //disable in Clean layer
        };

        cb_JM {
            bindings = <&kp MINUS>;
            key-positions = <RM1 RB1>;
            timeout-ms = <COMBO_TERM_SLOW>;
            require-prior-idle-ms = <COMBO_IDLE_SLOW>;
            layers = <DEF COL GAM>;                         //disable in Clean layer
        };

        cb_KLt {
            bindings = <&kp FSLH>;
            key-positions = <RM2 RB2>;
            timeout-ms = <COMBO_TERM_SLOW>;
            require-prior-idle-ms = <COMBO_IDLE_SLOW>;
            layers = <DEF COL GAM>;                         //disable in Clean layer
        };

        cb_LGt {
            bindings = <&kp BSLH>;
            key-positions = <RM3 RB3>;
            timeout-ms = <COMBO_TERM_SLOW>;
            require-prior-idle-ms = <COMBO_IDLE_SLOW>;
            layers = <DEF COL GAM>;                         //disable in Clean layer
        };
// ───────────────────────────────────────────────── functional ─────────────────────────────────────────────────
        cb_RT {
            bindings = <&td_PAR>;
            key-positions = <LT0 LT1>;
            // timeout-ms = <COMBO_TERM_FAST>;
            // require-prior-idle-ms = <COMBO_IDLE_FAST>;
            layers = <DEF COL GAM>;                         //disable in Clean layer
        };

        cb_FG {
            bindings = <&td_BKT>;
            key-positions = <LM0 LM1>;
            // timeout-ms = <COMBO_TERM_FAST>;
            // require-prior-idle-ms = <COMBO_IDLE_FAST>;
            layers = <DEF COL GAM>;                         //disable in Clean layer
        };

        cb_VB {
            bindings = <&td_LTGT>;
            key-positions = <LB0 LB1>;
            // timeout-ms = <COMBO_TERM_FAST>;
            // require-prior-idle-ms = <COMBO_IDLE_FAST>;
            layers = <DEF COL GAM>;                         //disable in Clean layer
        };

        cb_FB {
            bindings = <&td_BRC>;
            key-positions = <LM1 LB0>;
            // timeout-ms = <COMBO_TERM_SLOW>;
            // require-prior-idle-ms = <COMBO_IDLE_SLOW>;
            layers = <DEF COL GAM>;                         //disable in Clean layer
        };
// ───────────────────────────────────────────────── Layer switch ─────────────────────────────────────────────────
        cb_WA {
            bindings = <&tog COL>;
            key-positions = <LT3 LM4>;
            layers = <DEF COL GAM>;         //disable in Clean layer
        };

        cb_RG {
            bindings = <&tog GAM>;
            key-positions = <LT1 LM0>;
            layers = <DEF COL GAM>;         //disable in Clean layer
        };

        cb_SZ {
            bindings = <&tog ADJ>;
            key-positions = <LM3 LB4>;
            layers = <DEF COL ADJ>;         //disable in Gaming & Clean layer
        };

        cb_WR {
            bindings = <&tMED>;
            key-positions = <LT1 LT3>;
            layers = <DEF COL>;             //disable in Gaming & Clean layer
        };

        cb_LFslh {
            bindings = <&tog ADJ>;
            key-positions = <RM3 RB4>;
            layers = <DEF COL ADJ>;         //disable in Gaming & Clean layer
        };

        cb_UIO {
            bindings = <&tog CLE>;
            key-positions = <RT1 RT2 RT3>;
            timeout-ms = <COMBO_TERM_FAST>;
            require-prior-idle-ms = <COMBO_IDLE_FAST>;
            layers = <DEF COL CLE>;         //disable in Gaming layer
        };

        cb_LH1LH2 {
            bindings = <&aNUM NUM>;
            key-positions = <LH1 LH2>;
            layers = <DEF COL GAM NUM>;     //disable in Clean layer
        };

        cb_LH0LH1 {
            bindings = <&math_word NAV>;
            key-positions = <LH0 LH1>;
            layers = <DEF COL GAM NAV>;     //disable in Clean layer
        };
// ───────────────────────────────────────────────── END Combos ─────────────────────────────────────────────────
    };

    macros {
// ───────────────────────────────────────────────── Macros ─────────────────────────────────────────────────
        m_dPAR: m_double_PAR {
            compatible = "zmk,behavior-macro";
            #binding-cells = <0>;
            bindings = <&kp LPAR &kp RPAR &kp LEFT>;
        };

        m_dBKT: m_doubel_BKT {
            compatible = "zmk,behavior-macro";
            #binding-cells = <0>;
            bindings = <&kp LBKT &kp RBKT &kp LEFT>;
        };

        m_dBRC: m_double_BRC {
            compatible = "zmk,behavior-macro";
            #binding-cells = <0>;
            bindings = <&kp LBRC &kp RBRC &kp LEFT>;
        };

        m_LTGT: m_LT_GT {
            compatible = "zmk,behavior-macro";
            #binding-cells = <0>;
            bindings = <&kp LT &kp GT &kp LEFT>;
        };

        // // holding FN key and tap
        // fk: fk {
        //     compatible = "zmk,behavior-macro-one-param";
        //     wait-ms = <0>;
        //     #binding-cells = <1>;
        //     bindings
        //         = <&macro_press &kp INS>
        //         , <&macro_param_1to1>
        //         , <&macro_press &kp MACRO_PLACEHOLDER>
        //         , <&macro_pause_for_release>
        //         , <&macro_param_1to1>
        //         , <&macro_release &kp MACRO_PLACEHOLDER>
        //         , <&macro_release &kp INS>;
        // };

        // mmkp: modifier_mousekeypress {
        //     compatible = "zmk,behavior-macro-two-param";
        //     wait-ms = <0>;
        //     tap-ms = <0>;
        //     #binding-cells = <2>;
        //     bindings
        //         = <&macro_param_1to1>
        //         , <&macro_press &kp MACRO_PLACEHOLDER>
        //         , <&macro_param_2to1>
        //         , <&macro_press &mkp MACRO_PLACEHOLDER>
        //         , <&macro_pause_for_release>
        //         , <&macro_param_2to1>
        //         , <&macro_release &mkp MACRO_PLACEHOLDER>
        //         , <&macro_param_1to1>
        //         , <&macro_release &kp MACRO_PLACEHOLDER>
        //         ;
        // };
// ───────────────────────────────────────────────── END Macros ─────────────────────────────────────────────────
    };

    keymap {
        compatible = "zmk,keymap";

        default_layer {
            display-name = "QWERTY";
            bindings = <
&mt INS TAB                &ak_q  &ak_w  &ak_e         &ak_r          &ak_t               &kp Y           &kp U          &hmr RC(RA(RS(RGUI))) I   &kp O        &kp P            &mt INS MINUS
&smart_gr                  &ak_a  &ak_s  &ak_d         &ak_f          &ak_g               &kp H           &hmrq RSHFT J  &hmr RGUI K               &hmr RALT L  &hmr RCTRL SEMI  &kp SQT
&mt LC(LA(LS(LGUI))) CAPS  &ak_z  &ak_x  &ak_c         &ak_v          &ak_b               &kp N           &kp M          &hmr LC(LA(LSHFT)) COMMA  &kp DOT      &kp FSLH         &kp BSLH
                                         &ltb NUM ESC  &ltb NAV BSPC  &ltq HOT SPACE      &mosls HOT HOT  &ltb NUM RET   &smart_shft
            >;
        };

        colemakDH_layer {
            display-name = "ARSTGM";
            bindings = <
&trans         &trans  &trans   &akc_f  &akc_p  &akc_b      &kp J   &kp L          &hmr RC(RA(RS(RGUI))) U  &kp Y        &kp SEMI      &trans
&smartEXAR_gr  &trans  &akc_r   &akc_s  &akc_t  &trans      &kp M   &hmrq RSHFT N  &hmr RGUI E              &hmr RALT I  &hmr RCTRL O  &trans
&trans         &trans  &trans   &trans  &akc_d  &akc_v      &kp K   &kp H          &trans                   &trans       &trans        &trans
                                &trans  &trans  &trans      &trans  &trans         &trans
            >;
        };

        gaming_layer {
            display-name = "GAME";
            bindings = <
&kp TAB    &kp Q  &kp W  &kp E   &kp R      &kp T          &kp Y   &kp U   &kp I      &kp O    &kp P     &fn_bs_f3
&kp LCTRL  &kp A  &kp S  &kp D   &kp F      &kp G          &kp H   &kp J   &kp K      &kp L    &kp SEMI  &trans
&kp LALT   &kp Z  &kp X  &kp C   &kp V      &kp B          &kp N   &kp M   &kp COMMA  &kp DOT  &kp FSLH  &trans
                         &trans  &kp LSHFT  &kp SPACE      &trans  &trans  &trans
            >;
        };

        exqwert_layer {
            display-name = "EXQWER";
            bindings = <
&trans            &kp Y         &kp U        &hml LC(LA(LS(LGUI))) I   &kp O          &kp P         &kp Q   &kp W          &hmr RC(RA(RS(RGUI))) E  &kp R        &kp T         &trans
&caps_word        &hml LCTRL H  &hml LALT J  &hml LGUI K               &hmlq LSHFT L  &kp SEMI      &kp A   &hmrq RSHFT S  &hmr RGUI D              &hmr RALT F  &hmr RCTRL G  &trans
&kpsk LSHFT LALT  &kp N         &kp M        &hml LC(LA(LSHFT)) COMMA  &kp DOT        &kp FSLH      &kp Z   &kp X          &hmr LC(LA(LSHFT)) C     &kp V        &kp B         &trans
                                             &mt LGUI K_CANCEL         &trans         &trans        &trans  &trans         &trans
            >;
        };

        exarstg_layer {
            display-name = "EXARST";
            bindings = <
&trans            &kp J         &kp L        &hml LC(LA(LS(LGUI))) U   &kp Y          &kp SEMI      &kp Q   &kp W          &hmr RC(RA(RS(RGUI))) F  &kp P        &kp B         &trans
&caps_word        &hml LCTRL M  &hml LALT N  &hml LGUI E               &hmlq LSHFT I  &kp O         &kp A   &hmrq RSHFT R  &hmr RGUI S              &hmr RALT T  &hmr RCTRL G  &trans
&kpsk LSHFT LALT  &kp K         &kp H        &hml LC(LA(LSHFT)) COMMA  &kp DOT        &kp FSLH      &kp Z   &kp X          &hmr LC(LA(LSHFT)) C     &kp D        &kp V         &trans
                                             &mt LGUI K_CANCEL         &trans         &trans        &trans  &trans         &trans
            >;
        };

        navipad_layer {
            display-name = "NAVPAD";
            bindings = <
&trans  &kp PG_UP  &kp HOME  &td_up             &kp END    &kp PRCNT        &kp CARET  &kp KP_N7          &kp KP_N8        &kp KP_N9        &kp KP_N0        &m_dPAR
&none   &kp PG_DN  &td_lf    &td_dn             &td_rt     &key_repeat      &kp PLUS   &hmrq RSHFT KP_N4  &hmr RGUI KP_N5  &hmr RALT KP_N6  &hmr RCTRL STAR  &kp EQUAL
&none   &sk LCTRL  &sk LALT  &sk LGUI           &sk LSHFT  &kp DEL          &kp MINUS  &kp KP_N1          &kp KP_N2        &kp KP_N3        &kp FSLH         &kp COLON
                             &mt LGUI K_CANCEL  &trans     &trans           &trans     &kp KP_DOT         &trans
            >;
        };

        hotkeyfn_layer {
            display-name = "HOTFN";
            bindings = <
&none  &kp LS(LG(T))  &kp LS(LG(N2))  &kp LS(LG(N3))  &kp LS(LG(N4))     &kp LS(LG(N5))      &none           &kp F7          &kp F8        &kp F9        &kp F12         &kpsk INS INS
&none  &kp LG(H)      &kp LG(J)       &kp LG(K)       &kp LA(LS(LG(V)))  &none               &sk LGUI        &hmrq RSHFT F4  &hmr RGUI F5  &hmr RALT F6  &hmr RCTRL F11  &sk LCTRL
&none  &kp LA(LG(H))  &none           &kp LA(LG(C))   &kp LA(LG(V))      &kp LG(FSLH)        &sk LSHFT       &kp F1          &kp F2        &kp F3        &kp F10         &sk LALT
                                      &trans          &trans             &trans              &mo_tMED MED 0  &trans          &trans
            >;
        };

        numbermouse_layer {
            display-name = "NUMMOU";
            bindings = <
&trans           &kp N1         &kp N2        &kp N3             &kp N4          &kp N5         &none     &msc SCRL_LEFT   &mmv MOVE_UP    &msc SCRL_RIGHT  &msc SCRL_UP    &mt INS BSPC
&kp EQUAL        &hml LCTRL N6  &hml LALT N7  &hml LGUI N8       &hmlq LSHFT N9  &kp N0         &mkp MB4  &mmv MOVE_LEFT   &mmv MOVE_DOWN  &mmv MOVE_RIGHT  &msc SCRL_DOWN  &trans
&mt LSHFT MINUS  &mkp MB4       &mkp LCLK     &mkp MCLK          &mkp RCLK       &mkp MB5       &mkp MB5  &mkp LCLK        &mkp MCLK       &mkp RCLK        &none           &trans
                                              &mt LGUI K_CANCEL  &kp LALT        &kp LCTRL      &trans    &trans           &trans
            >;
        };

        media_layer {
            display-name = "MEDIA";
            bindings = <
&mt HOME LBKT  &mt END RBKT  &kp LA(LEFT)  &kp UP             &kp LA(RIGHT)  &kp LG(T)      &none   &kp C_PREV     &kp C_PP      &kp C_NEXT  &kp C_VOL_UP  &none
&kp LT         &kp GT        &kp LEFT      &kp DOWN           &kp RIGHT      &kp F          &none   &none          &none         &none       &kp C_VOL_DN  &none
&kp COMMA      &kp DOT       &kp J         &kp C              &kp L          &kp Q          &none   &kp C_BRI_DN   &kp C_BRI_UP  &none       &kp C_MUTE    &none
                                           &mt LGUI K_CANCEL  &trans         &kp SPACE      &trans  &trans         &trans
            >;
        };

        adjust_layer {
            display-name = "ADJUST";
            bindings = <
&bt BT_CLR   &bt BT_SEL 0    &bt BT_SEL 1     &bt BT_SEL 2  &bt BT_SEL 3     &bt BT_SEL 4         &out OUT_BLE     &out OUT_USB  &none            &ext_power EP_ON   &rgb_ug RGB_SPI  &none
&bootloader  &bt BT_CLR_ALL  &rgb_ug RGB_SAI  &none         &none            &rgb_ug RGB_BRI      &rgb_ug RGB_HUI  &none         &none            &ext_power EP_OFF  &rgb_ug RGB_SPD  &bootloader
&sys_reset   &none           &rgb_ug RGB_SAD  &none         &none            &rgb_ug RGB_BRD      &rgb_ug RGB_HUD  &none         &rgb_ug RGB_EFR  &rgb_ug RGB_EFF    &none            &sys_reset
                                              &to DEF       &rgb_ug RGB_TOG  &studio_unlock       &none            &none         &to DEF
            >;
        };

        clean_layer {
            display-name = "CLEAN";
            bindings = <
&none  &none  &none  &none  &none  &none      &none  &none  &none  &none  &none  &none
&none  &none  &none  &none  &none  &none      &none  &none  &none  &none  &none  &none
&none  &none  &none  &none  &none  &none      &none  &none  &none  &none  &none  &none
                     &none  &none  &none      &none  &none  &none
            >;
        };
    };
};
